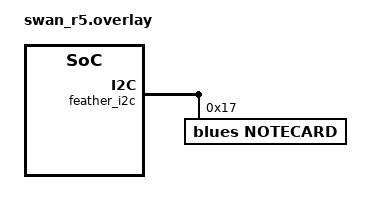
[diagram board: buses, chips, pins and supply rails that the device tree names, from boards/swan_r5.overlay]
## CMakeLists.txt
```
# Copyright (c) 2026 Blues Inc.
# SPDX-License-Identifier: MIT

cmake_minimum_required(VERSION 3.13.1)
find_package(Zephyr REQUIRED HINTS $ENV{ZEPHYR_BASE})

project(notecard_hil LANGUAGES C)

target_sources(app PRIVATE src/main.c)
```

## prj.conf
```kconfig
CONFIG_ZTEST=y

# Notecard libraries
CONFIG_NEWLIB_LIBC=y # Required by `note-c`
CONFIG_BLUES_NOTECARD=y

# The suite issues hub.set with this Product UID. It is never synced, so it
# only has to be well-formed, not a project you own.
CONFIG_BLUES_NOTEHUB_PRODUCT_UID="com.blues.note-zephyr.hil"

# Logging, so a failure on real hardware leaves something to read.
CONFIG_LOG=y
CONFIG_BLUES_NOTECARD_LOGGING=y

# note-c builds JSON requests on the heap, and the ztest thread has to be big
# enough to hold the transport's stack frames on top of that.
CONFIG_HEAP_MEM_POOL_SIZE=8192
CONFIG_MAIN_STACK_SIZE=4096
CONFIG_ZTEST_STACK_SIZE=4096
```

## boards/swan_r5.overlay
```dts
/*
 * Copyright (c) 2026 Blues Inc.
 * SPDX-License-Identifier: MIT
 *
 * Notecard on the Feather I2C bus, matching examples/overlays/i2c.overlay.
 * This is the wiring a Notecarrier-F gives you with a Swan seated on it, which
 * is what the Notestations are built around.
 */

&feather_i2c {
	status = "okay";

	notecard@17 {
		compatible = "blues,notecard";
		reg = <0x17>;
		status = "okay";
	};
};
```

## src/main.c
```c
/*
 * Copyright (c) 2026 Blues Inc.
 *
 * MIT License. Use of this source code is governed by licenses granted
 * by the copyright holder including that found in the LICENSE file.
 */

/*
 * Hardware-in-the-loop tests for the note-zephyr transport layer.
 *
 * These run on a real Swan with a real Notecard attached, so they deliberately
 * avoid anything that depends on cellular or Notehub connectivity: a test that
 * waits for a sync would be flaky in CI for reasons that have nothing to do
 * with this module. Everything here talks to the Notecard over the local
 * transport (I2C or UART, whichever the devicetree selects) and asserts on the
 * response it gets back.
 */

#include <string.h>

#include <zephyr/ztest.h>
#include <zephyr/logging/log.h>

#include <note.h>

LOG_MODULE_REGISTER(notecard_hil, LOG_LEVEL_INF);

/* Notefile used by the note.add cases. Queued outbound (.qo) rather than
 * synced, so nothing leaves the device.
 */
#define TEST_NOTEFILE "hil.qo"

/*
 * Issue a request and return the response. Fails the current test if the
 * request could not be allocated or the Notecard did not answer at all --
 * both of which mean the transport is broken rather than the request being
 * rejected. The caller owns the response.
 */
static J *hil_request(const char *request)
{
	J *req = NoteNewRequest(request);

	zassert_not_null(req, "failed to allocate '%s' request", request);

	J *rsp = NoteRequestResponse(req);

	zassert_not_null(rsp, "no response to '%s' -- is the Notecard wired up?",
			 request);

	return rsp;
}

/*
 * Drop the test notefile so note.add case totals start from a known point.
 * A missing file is not an error worth failing on, so the response is only
 * logged.
 */
static void *notecard_hil_setup(void)
{
	J *req = NoteNewRequest("file.delete");

	if (req != NULL) {
		J *files = JAddArrayToObject(req, "files");

		if (files != NULL) {
			JAddItemToArray(files, JCreateString(TEST_NOTEFILE));
		}

		J *rsp = NoteRequestResponse(req);

		if (rsp != NULL) {
			if (NoteResponseError(rsp)) {
				LOG_INF("file.delete of %s: %s (expected if absent)",
					TEST_NOTEFILE, JGetString(rsp, "err"));
			}
			NoteDeleteResponse(rsp);
		}
	}

	return NULL;
}

ZTEST_SUITE(notecard_hil, NULL, notecard_hil_setup, NULL, NULL, NULL);

/*
 * The transport works at all: the Notecard answers card.version and the
 * response carries the fields note-c expects to parse. This is the case to
 * read first when the suite goes red -- if it fails, the rest will too.
 */
ZTEST(notecard_hil, test_card_version)
{
	J *rsp = hil_request("card.version");

	zassert_false(NoteResponseError(rsp), "card.version returned: %s",
		      JGetString(rsp, "err"));

	const char *version = JGetString(rsp, "version");

	zassert_not_null(version, "card.version response had no 'version'");
	zassert_true(strlen(version) > 0, "card.version 'version' was empty");

	/*
	 * Deliberately not asserting on "api". It is not a field every
	 * Notecard firmware returns -- the Notecard on the HIL station answers
	 * card.version with a valid, non-empty "version" and no "api" at all,
	 * which failed this case while the four below passed. A non-empty
	 * "version" already proves what this case is for: the request went
	 * out, an answer came back, and note-c parsed a string field out of
	 * it.
	 */

	LOG_INF("Notecard version: %s", version);

	NoteDeleteResponse(rsp);
}

/*
 * Consecutive exchanges. I2C framing bugs tend to show up on the request
 * *after* the first rather than on the first itself, so issue the same
 * request repeatedly and require an identical answer each time -- that
 * catches a truncated or offset read, which a bare "did it error" check
 * would let through.
 */
ZTEST(notecard_hil, test_consecutive_requests_are_stable)
{
	char first[64] = {0};

	for (int i = 0; i < 3; i++) {
		J *rsp = hil_request("card.version");

		zassert_false(NoteResponseError(rsp),
			      "card.version #%d returned: %s", i,
			      JGetString(rsp, "err"));

		const char *version = JGetString(rsp, "version");

		zassert_not_null(version, "card.version #%d had no 'version'", i);

		if (i == 0) {
			strncpy(first, version, sizeof(first) - 1);
		} else {
			zassert_str_equal(first, version,
					  "card.version #%d returned '%s', "
					  "expected '%s' -- transport is "
					  "corrupting or misaligning reads",
					  i, version, first);
		}

		NoteDeleteResponse(rsp);
	}
}

/*
 * A request that writes: hub.set is what every example issues at startup, so
 * a regression here breaks all of them.
 */
ZTEST(notecard_hil, test_hub_set)
{
	J *req = NoteNewRequest("hub.set");

	zassert_not_null(req, "failed to allocate hub.set request");

	JAddStringToObject(req, "product", CONFIG_BLUES_NOTEHUB_PRODUCT_UID);
	JAddStringToObject(req, "mode", "continuous");
	JAddStringToObject(req, "sn", "note-zephyr-hil");

	J *rsp = NoteRequestResponse(req);

	zassert_not_null(rsp, "no response to hub.set");
	zassert_false(NoteResponseError(rsp), "hub.set returned: %s",
		      JGetString(rsp, "err"));

	NoteDeleteResponse(rsp);
}

/*
 * Queue a Note locally. No "sync" is requested, so this exercises the
 * request/response path with a nested body and does not depend on the
 * Notecard having a connection.
 */
ZTEST(notecard_hil, test_note_add_queues_locally)
{
	J *req = NoteNewRequest("note.add");

	zassert_not_null(req, "failed to allocate note.add request");

	JAddStringToObject(req, "file", TEST_NOTEFILE);

	J *body = JAddObjectToObject(req, "body");

	zassert_not_null(body, "failed to add body to note.add request");
	JAddNumberToObject(body, "count", 1);
	JAddStringToObject(body, "source", "note-zephyr-hil");

	J *rsp = NoteRequestResponse(req);

	zassert_not_null(rsp, "no response to note.add");
	zassert_false(NoteResponseError(rsp), "note.add returned: %s",
		      JGetString(rsp, "err"));

	zassert_true(JGetInt(rsp, "total") >= 1,
		     "note.add reported total %lld, expected at least 1",
		     (long long)JGetInt(rsp, "total"));

	NoteDeleteResponse(rsp);
}

/*
 * Errors have to come back as errors. Without this, every other case in the
 * suite could pass against a transport that silently swallowed failures.
 */
ZTEST(notecard_hil, test_unknown_request_returns_error)
{
	J *rsp = hil_request("note.zephyr.no.such.request");

	zassert_true(NoteResponseError(rsp),
		     "an unknown request should have returned an 'err'");

	LOG_INF("unknown request rejected with: %s", JGetString(rsp, "err"));

	NoteDeleteResponse(rsp);
}
```
